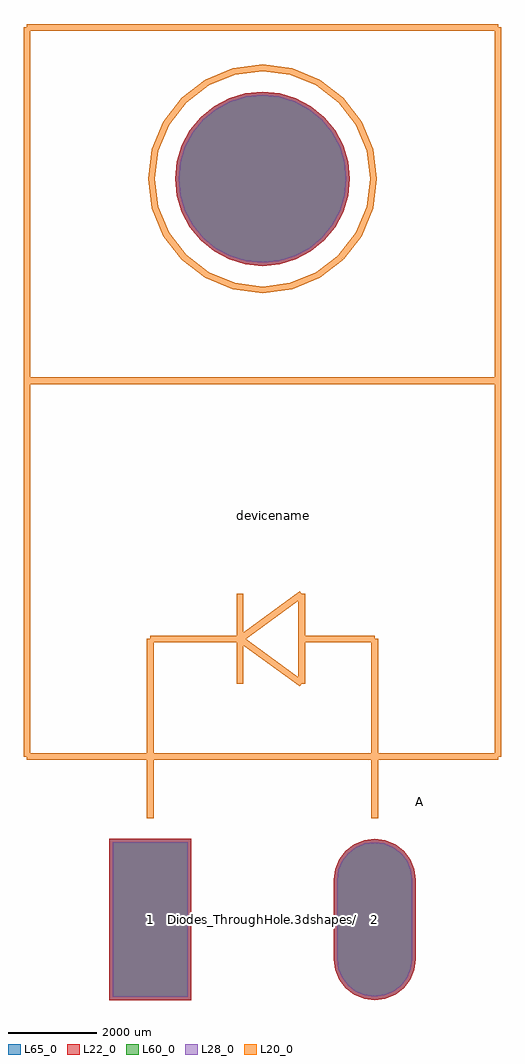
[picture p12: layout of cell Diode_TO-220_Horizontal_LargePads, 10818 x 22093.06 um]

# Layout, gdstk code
import gdstk
lib = gdstk.Library(unit=1e-6, precision=1e-09)
def R(c, l, rs):  # rectangles x0, y0, x1, y1
    for r in rs: c.add(gdstk.rectangle(r[:2], r[2:], *l))
def P(c, l, *ps):  # polygons
    for p in ps: c.add(gdstk.Polygon(p, *l))
L20_0 = (20, 0)
L22_0 = (22, 0)
L28_0 = (28, 0)
L60_0 = (60, 0)
L65_0 = (65, 0)

diode_to_220_horizontal_ = lib.new_cell('Diode_TO-220_Horizontal_LargePads')
R(diode_to_220_horizontal_, L22_0, [(-929.71,-1825.06,919.55,1825.06)])
P(diode_to_220_horizontal_, L22_0, [(4509.84,16764),(4471.892,17149.288),(4359.508,17519.769),(4177.006,17861.207),(3931.399,18160.479),(3632.127,18406.086),(3290.689,18588.588),(2920.208,18700.972),(2534.92,18738.92),(2149.632,18700.972),(1779.151,18588.588),(1437.713,18406.086),(1138.441,18160.479),(892.834,17861.207),(710.332,17519.769),(597.948,17149.288),(560,16764),(597.948,16378.712),(710.332,16008.231),(892.834,15666.793),(1138.441,15367.521),(1437.713,15121.914),(1779.151,14939.412),(2149.632,14827.028),(2534.92,14789.08),(2920.208,14827.028),(3290.689,14939.412),(3632.127,15121.914),(3931.399,15367.521),(4177.006,15666.793),(4359.508,16008.231),(4471.892,16378.712)],
  [(5074.92,-1825.06),(5314.232,-1793.554),(5537.235,-1701.183),(5728.732,-1554.242),(5875.673,-1362.745),(5968.044,-1139.742),(5999.55,-900.43),(5999.55,900.43),(5968.044,1139.742),(5875.673,1362.745),(5728.732,1554.242),(5537.235,1701.183),(5314.232,1793.554),(5074.92,1825.06),(4835.608,1793.554),(4612.605,1701.183),(4421.108,1554.242),(4274.167,1362.745),(4181.796,1139.742),(4150.29,900.43),(4150.29,-900.43),(4181.796,-1139.742),(4274.167,-1362.745),(4421.108,-1554.242),(4612.605,-1701.183),(4835.608,-1793.554)])
R(diode_to_220_horizontal_, L28_0, [(-854.71,-1750.06,844.55,1750.06)])
P(diode_to_220_horizontal_, L28_0, [(4434.84,16764),(4398.334,17134.656),(4290.217,17491.068),(4114.646,17819.539),(3878.366,18107.446),(3590.459,18343.726),(3261.988,18519.297),(2905.576,18627.414),(2534.92,18663.92),(2164.264,18627.414),(1807.852,18519.297),(1479.381,18343.726),(1191.474,18107.446),(955.194,17819.539),(779.623,17491.068),(671.506,17134.656),(635,16764),(671.506,16393.344),(779.623,16036.932),(955.194,15708.461),(1191.474,15420.554),(1479.381,15184.274),(1807.852,15008.703),(2164.264,14900.586),(2534.92,14864.08),(2905.576,14900.586),(3261.988,15008.703),(3590.459,15184.274),(3878.366,15420.554),(4114.646,15708.461),(4290.217,16036.932),(4398.334,16393.344)],
  [(5074.92,-1750.06),(5294.82,-1721.11),(5499.735,-1636.231),(5675.699,-1501.209),(5810.721,-1325.245),(5895.6,-1120.33),(5924.55,-900.43),(5924.55,900.43),(5895.6,1120.33),(5810.721,1325.245),(5675.699,1501.209),(5499.735,1636.231),(5294.82,1721.11),(5074.92,1750.06),(4855.02,1721.11),(4650.105,1636.231),(4474.141,1501.209),(4339.119,1325.245),(4254.24,1120.33),(4225.29,900.43),(4225.29,-900.43),(4254.24,-1120.33),(4339.119,-1325.245),(4474.141,-1501.209),(4650.105,-1636.231),(4855.02,-1721.11)])
R(diode_to_220_horizontal_, L60_0, [(-854.71,-1750.06,844.55,1750.06)])
P(diode_to_220_horizontal_, L60_0, [(4434.84,16764),(4398.334,17134.656),(4290.217,17491.068),(4114.646,17819.539),(3878.366,18107.446),(3590.459,18343.726),(3261.988,18519.297),(2905.576,18627.414),(2534.92,18663.92),(2164.264,18627.414),(1807.852,18519.297),(1479.381,18343.726),(1191.474,18107.446),(955.194,17819.539),(779.623,17491.068),(671.506,17134.656),(635,16764),(671.506,16393.344),(779.623,16036.932),(955.194,15708.461),(1191.474,15420.554),(1479.381,15184.274),(1807.852,15008.703),(2164.264,14900.586),(2534.92,14864.08),(2905.576,14900.586),(3261.988,15008.703),(3590.459,15184.274),(3878.366,15420.554),(4114.646,15708.461),(4290.217,16036.932),(4398.334,16393.344)],
  [(5074.92,-1750.06),(5294.82,-1721.11),(5499.735,-1636.231),(5675.699,-1501.209),(5810.721,-1325.245),(5895.6,-1120.33),(5924.55,-900.43),(5924.55,900.43),(5895.6,1120.33),(5810.721,1325.245),(5675.699,1501.209),(5499.735,1636.231),(5294.82,1721.11),(5074.92,1750.06),(4855.02,1721.11),(4650.105,1636.231),(4474.141,1501.209),(4339.119,1325.245),(4254.24,1120.33),(4225.29,900.43),(4225.29,-900.43),(4254.24,-1120.33),(4339.119,-1325.245),(4474.141,-1501.209),(4650.105,-1636.231),(4855.02,-1721.11)])
R(diode_to_220_horizontal_, L65_0, [(-929.71,-1825.06,919.55,1825.06)])
P(diode_to_220_horizontal_, L65_0, [(4509.84,16764),(4471.892,17149.288),(4359.508,17519.769),(4177.006,17861.207),(3931.399,18160.479),(3632.127,18406.086),(3290.689,18588.588),(2920.208,18700.972),(2534.92,18738.92),(2149.632,18700.972),(1779.151,18588.588),(1437.713,18406.086),(1138.441,18160.479),(892.834,17861.207),(710.332,17519.769),(597.948,17149.288),(560,16764),(597.948,16378.712),(710.332,16008.231),(892.834,15666.793),(1138.441,15367.521),(1437.713,15121.914),(1779.151,14939.412),(2149.632,14827.028),(2534.92,14789.08),(2920.208,14827.028),(3290.689,14939.412),(3632.127,15121.914),(3931.399,15367.521),(4177.006,15666.793),(4359.508,16008.231),(4471.892,16378.712)],
  [(5074.92,-1825.06),(5314.232,-1793.554),(5537.235,-1701.183),(5728.732,-1554.242),(5875.673,-1362.745),(5968.044,-1139.742),(5999.55,-900.43),(5999.55,900.43),(5968.044,1139.742),(5875.673,1362.745),(5728.732,1554.242),(5537.235,1701.183),(5314.232,1793.554),(5074.92,1825.06),(4835.608,1793.554),(4612.605,1701.183),(4421.108,1554.242),(4274.167,1362.745),(4181.796,1139.742),(4150.29,900.43),(4150.29,-900.43),(4181.796,-1139.742),(4274.167,-1362.745),(4421.108,-1554.242),(4612.605,-1701.183),(4835.608,-1793.554)])
diode_to_220_horizontal_.add(gdstk.FlexPath([(2534.92,3683),(7868.92,3683)], 149.998, ends="flush", simple_path=True, layer=20, datatype=0))  # L20_0
diode_to_220_horizontal_.add(gdstk.FlexPath([(2534.92,3683),(-2799.08,3683)], 149.998, ends="flush", simple_path=True, layer=20, datatype=0))  # L20_0
diode_to_220_horizontal_.add(gdstk.FlexPath([(-2799.08,12192),(-2799.08,3683)], 149.998, ends="flush", simple_path=True, layer=20, datatype=0))  # L20_0
diode_to_220_horizontal_.add(gdstk.FlexPath([(7868.92,12192),(-2799.08,12192)], 149.998, ends="flush", simple_path=True, layer=20, datatype=0))  # L20_0
diode_to_220_horizontal_.add(gdstk.FlexPath([(7868.92,3683),(7868.92,12192)], 149.998, ends="flush", simple_path=True, layer=20, datatype=0))  # L20_0
diode_to_220_horizontal_.add(gdstk.FlexPath([(-2799.08,20193),(-2799.08,12192)], 149.998, ends="flush", simple_path=True, layer=20, datatype=0))  # L20_0
diode_to_220_horizontal_.add(gdstk.FlexPath([(7868.92,20193),(-2799.08,20193)], 149.998, ends="flush", simple_path=True, layer=20, datatype=0))  # L20_0
diode_to_220_horizontal_.add(gdstk.FlexPath([(7868.92,12192),(7868.92,20193)], 149.998, ends="flush", simple_path=True, layer=20, datatype=0))  # L20_0
diode_to_220_horizontal_.add(gdstk.FlexPath([(4312.92,14986),(4712.516,15506.764),(4963.713,16113.207),(5049.392,16764),(4963.713,17414.793),(4712.516,18021.236),(4312.92,18542),(3792.156,18941.596),(3185.713,19192.793),(2534.92,19278.472),(1884.127,19192.793),(1277.684,18941.596),(756.92,18542),(357.324,18021.236),(106.127,17414.793),(20.448,16764),(106.127,16113.207),(357.324,15506.764),(756.92,14986),(1277.684,14586.404),(1884.127,14335.207),(2534.92,14249.528),(3185.713,14335.207),(3792.156,14586.404),(4312.92,14986)], 149.998, ends="flush", simple_path=True, layer=20, datatype=0))  # L20_0
diode_to_220_horizontal_.add(gdstk.FlexPath([(5074.92,3683),(5074.92,2286)], 149.998, ends="flush", simple_path=True, layer=20, datatype=0))  # L20_0
diode_to_220_horizontal_.add(gdstk.FlexPath([(-5.08,3683),(-5.08,2286)], 149.998, ends="flush", simple_path=True, layer=20, datatype=0))  # L20_0
diode_to_220_horizontal_.add(gdstk.FlexPath([(2026.92,7366),(2026.92,5334)], 149.998, ends="flush", simple_path=True, layer=20, datatype=0))  # L20_0
diode_to_220_horizontal_.add(gdstk.FlexPath([(3423.92,5334),(2026.92,6350)], 149.998, ends="flush", simple_path=True, layer=20, datatype=0))  # L20_0
diode_to_220_horizontal_.add(gdstk.FlexPath([(3423.92,7366),(3423.92,5334)], 149.998, ends="flush", simple_path=True, layer=20, datatype=0))  # L20_0
diode_to_220_horizontal_.add(gdstk.FlexPath([(2026.92,6350),(3423.92,7366)], 149.998, ends="flush", simple_path=True, layer=20, datatype=0))  # L20_0
diode_to_220_horizontal_.add(gdstk.FlexPath([(5074.92,6350),(5074.92,3683)], 149.998, ends="flush", simple_path=True, layer=20, datatype=0))  # L20_0
diode_to_220_horizontal_.add(gdstk.FlexPath([(3423.92,6350),(5074.92,6350)], 149.998, ends="flush", simple_path=True, layer=20, datatype=0))  # L20_0
diode_to_220_horizontal_.add(gdstk.FlexPath([(-5.08,6350),(-5.08,3683)], 149.998, ends="flush", simple_path=True, layer=20, datatype=0))  # L20_0
diode_to_220_horizontal_.add(gdstk.FlexPath([(2026.92,6350),(-5.08,6350)], 149.998, ends="flush", simple_path=True, layer=20, datatype=0))  # L20_0
diode_to_220_horizontal_.add(gdstk.Label('Diodes_ThroughHole.3dshapes/Diode_TO-220_Horizontal_LargePads.wrl', (2540,0), layer=12, texttype=0))
diode_to_220_horizontal_.add(gdstk.Label('2', (5074.92,0), layer=28, texttype=0))
diode_to_220_horizontal_.add(gdstk.Label('1', (-5.08,0), layer=28, texttype=0))
diode_to_220_horizontal_.add(gdstk.Label('A', (6090.92,2667), layer=9, texttype=0))
diode_to_220_horizontal_.add(gdstk.Label('type', (2800,-2850), layer=9, texttype=0))
diode_to_220_horizontal_.add(gdstk.Label('devicename', (2788.92,9144), layer=9, texttype=0))

lib.write_gds('Diode_TO-220_Horizontal_LargePads.gds')
